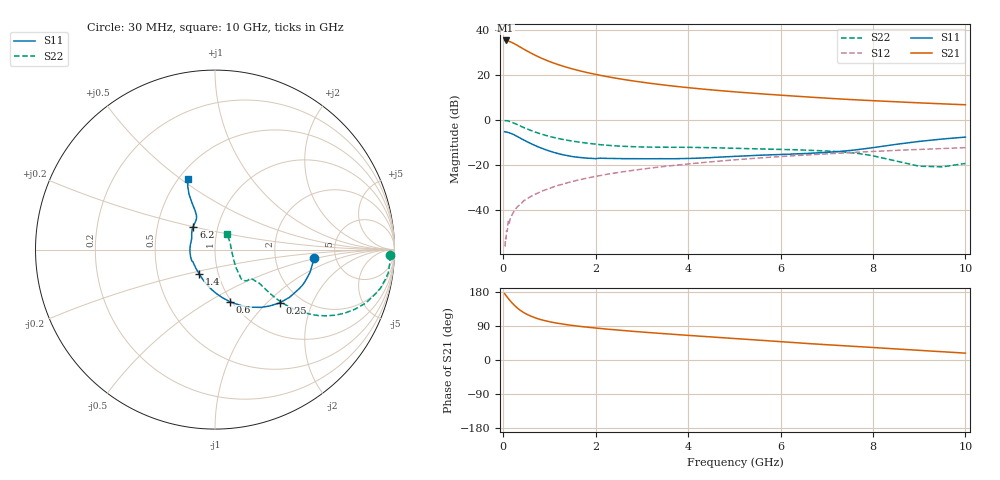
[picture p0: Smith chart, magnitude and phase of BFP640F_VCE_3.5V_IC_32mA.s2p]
! Infineon Technologies  Discrete & RF Semiconductors
! BFP640F
! VCE =  3.5 V,  IC =  32 mA
! Common Emitter S-Parameters:  Apr 2013
# GHz  S  MA  R  50
!  f  S11  S21  S12  S22
! GHz  MAG  ANG  MAG  ANG  MAG  ANG  MAG  ANG
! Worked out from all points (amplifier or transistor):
!   99 points, 30 MHz to 10 GHz, reference 50 ohm
!   highest |S21| = 35.4 dB at 50 MHz (marker M1)
!   |S21| within 3 dB of that: start of sweep to 373.6 MHz
!   unconditionally stable (mu >= 1): 1.801 GHz to end of sweep
!   at 350 MHz: K = 0.50, MSG = 35.2 dB, |S12| = -37.7 dB
!   at 3.5 GHz: K = 1.06, MAG = 16.6 dB, |S12| = -20.5 dB
!   at 10 GHz: K = 1.04, MAG = 8.3 dB, |S12| = -12.2 dB
!   S11 on the Smith chart (normalised r, x): 30 MHz: 3.42, -0.46; 250 MHz: 1.57, -1.19; 600 MHz: 0.98, -0.63; 1.4 GHz: 0.81, -0.23; 6.2 GHz: 0.76, +0.20; 10 GHz: 0.56, +0.53
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0.03  0.5547 -4.8  58.92 175.0  0.0016 69.2  0.9778 -1.9
0.05  0.5497 -7.9  58.95 171.9  0.0024 128.4  0.9774 -4.0
0.11  0.5335 -18.7  57.02 162.3  0.0057 78.0  0.9568 -11.0
0.15  0.5164 -25.1  55.2 156.4  0.0064 85.1  0.9307 -15.1
0.2  0.4929 -32.7  52.4 149.5  0.0083 78.3  0.8916 -19.5
0.25  0.4669 -39.5  49.27 143.3  0.0101 75.5  0.8468 -23.1
0.3  0.438 -45.8  46.19 137.8  0.0118 77.6  0.8038 -26.2
0.4  0.3838 -56.8  40.27 128.5  0.0145 74.7  0.7205 -30.8
0.5  0.3398 -65.8  35.14 121.4  0.0177 73.2  0.6513 -33.8
0.6  0.3026 -74.0  30.89 115.6  0.0204 73.0  0.5915 -35.9
0.7  0.2711 -81.2  27.39 110.9  0.0229 73.2  0.5427 -37.2
0.9  0.2247 -94.3  22.14 103.9  0.0282 72.6  0.4668 -38.5
1.1  0.1924 -106.3  18.45 98.6  0.0335 72.2  0.4122 -38.6
1.4  0.1632 -122.5  14.69 92.8  0.0412 71.4  0.3573 -38.1
1.7  0.1475 -137.5  12.18 88.2  0.0489 70.6  0.3203 -37.3
2.4  0.1414 -164.7  8.702 79.9  0.0669 67.6  0.2711 -38.2
3.4  0.1401 169.3  6.188 70.2  0.0918 63.1  0.2514 -41.4
5.1  0.159 144.4  4.196 55.9  0.1342 54.3  0.237 -46.6
6.2  0.1758 133.3  3.487 46.8  0.1606 48.1  0.2223 -48.0
6.7  0.186 127.0  3.228 42.6  0.1721 45.3  0.2132 -47.9
8.5  0.2913 116.2  2.567 29.2  0.214 35.0  0.1244 -31.4
10  0.4219 111.0  2.202 18.1  0.2463 26.3  0.1098 52.1
